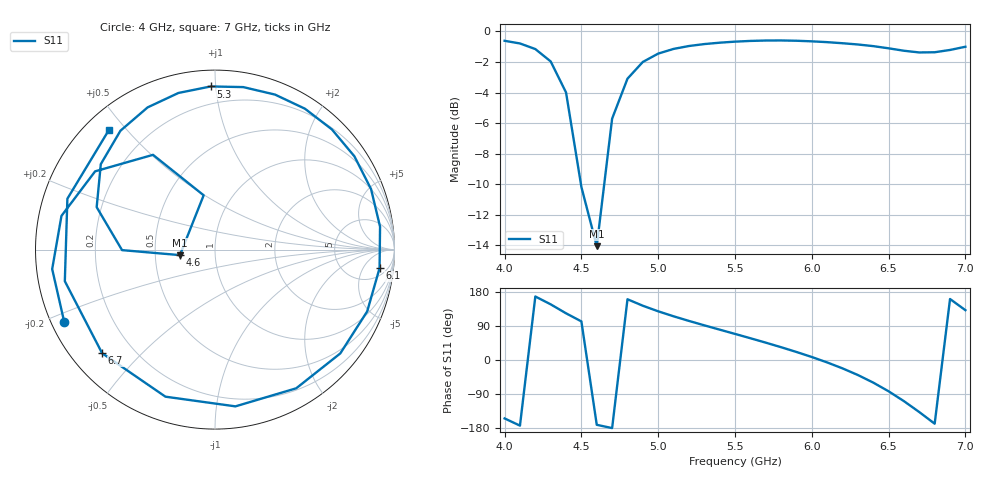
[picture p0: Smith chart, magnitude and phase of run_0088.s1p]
! Touchstone file exported from HFSS 2024.2.0
!  File:  C:/Users/wsak9/Desktop/Sim Fast/Widenad Patch/WP_AI_V1_sweep.aedt
!  Generated:  06:35:54 PM Oct 13, 2026
!  Design:  A1_model
!  Project:  WP_AI_V1_sweep
!  Setup:  Setup1
!  Solution:  Sweep
! Variables:
!  Air_gap = 4.74mm
!  Curve_Amp1 = 1.81
!  Curve_len1 = 1
!  Curve_pos = 12.675mm
!  Extra = 7.06mm
!  H_sub = 0.79mm
!  L_Patch = 21.35mm
!  L_Patch1 = 15.58mm
!  Sx = 3.44mm
!  Sy = 3.36mm
!  WS = 0.56mm
!  W_Patch = 14.44mm
!  W_Patch1 = 8.52mm
!Data is not renormalized
# GHz S MA
! Terminal data exported
! Port[1] = 1
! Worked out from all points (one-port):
!   31 points, 4 GHz to 7 GHz, reference per port
!   lowest |S11| = -14.1 dB at 4.6 GHz (marker M1), VSWR 1.49
!   |S11| at or under -10 dB: 4.497 GHz to 4.649 GHz (151.9 MHz wide, 3.32 % of centre)
!   S11 on the Smith chart (normalised r, x): 4 GHz: 0.04, -0.23; 4.6 GHz: 0.67, -0.04; 5.3 GHz: 0.09, +0.97; 6.1 GHz: 8, -12; 6.7 GHz: 0.09, -0.39; 7 GHz: 0.07, +0.45
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4  0.9322 -154.2
4.1  0.9136 -173.2
4.2  0.8758 167.6
4.3  0.7976 146.9
4.4  0.631 123.2
4.5  0.3091 101.8
4.6  0.1978 -171.1
4.7  0.5179 -179.7
4.8  0.7004 160.3
4.9  0.7947 143.2
5  0.8463 128.5
5.1  0.8768 115.3
5.2  0.8962 103.1
5.3  0.9094 91.5
5.5  0.9261 68.9
5.7  0.9341 45.8
5.9  0.9325 21.2
6  0.9284 7.9
6.1  0.9227 -6.4
6.2  0.9152 -22.1
6.3  0.9066 -39.6
6.4  0.8955 -59.6
6.5  0.8808 -82.6
6.6  0.8647 -108.6
6.7  0.8537 -137.5
6.8  0.855 -168.1
6.9  0.8699 161.0
7  0.8912 131.5
